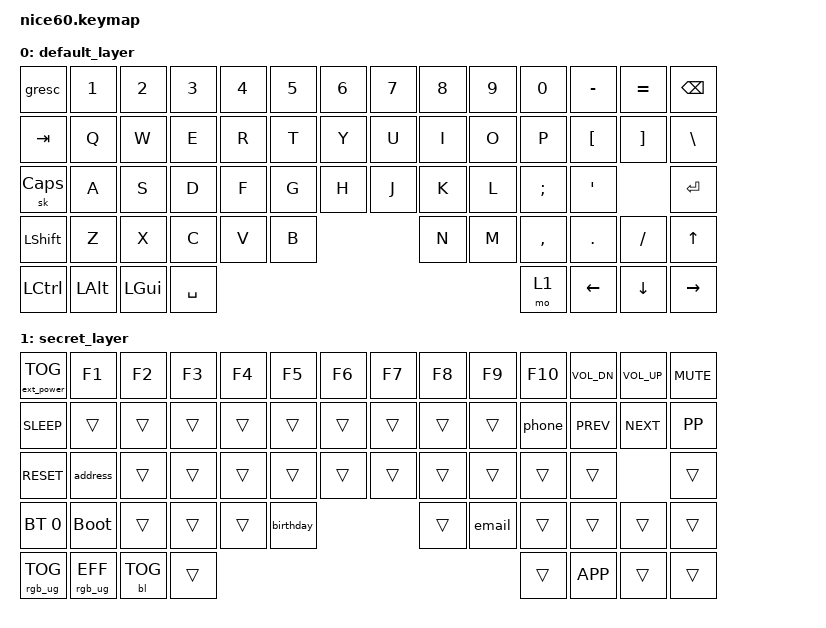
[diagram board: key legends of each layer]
/*
 * Copyright (c) 2021 Nick Winans
 *
 * SPDX-License-Identifier: MIT
 */

#include <behaviors.dtsi>
#include <dt-bindings/zmk/keys.h>
#include <dt-bindings/zmk/ext_power.h>
#include <dt-bindings/zmk/bt.h>
#include <dt-bindings/zmk/rgb.h>
#include <dt-bindings/zmk/backlight.h>

#define default 0
#define secret 1

/ {
    macros {
        email: email {
            compatible = "zmk,behavior-macro";
            label = "email";
            #binding-cells = <0>;
            bindings = <&kp C &kp L &kp A &kp U &kp D &kp I &kp A &kp C &kp H &kp O &kp X &kp O &kp AT &kp G &kp M &kp A &kp I &kp L &kp DOT &kp C &kp O &kp M>;
        };
        address: address {
            compatible = "zmk,behavior-macro";
            label = "address";
            #binding-cells = <0>;
            bindings = <&kp N1 &kp N4 &kp N4 &kp N4 &kp SPACE &kp LS(N) &kp LS(W) &kp SPACE &kp N1 &kp N4 &kp T &kp H &kp SPACE &kp LS(A) &kp V &kp E &kp SPACE &kp TAB &kp LS(A) &kp P &kp T &kp SPACE &kp N2 &kp N1 &kp N0 &kp N2>;
        };
        phone: phone {
            compatible = "zmk,behavior-macro";
            label = "phone";
            #binding-cells = <0>;
            bindings = <&kp N2 &kp N0 &kp N1 &kp N6 &kp N7 &kp N5 &kp N3 &kp N1 &kp N4 &kp N2>;
        };
        birthday: birthday {
            compatible = "zmk,behavior-macro";
            label = "birthday";
            #binding-cells = <0>;
            bindings = <&kp N0 &kp N7 &kp N0 &kp N2 &kp N1 &kp N9 &kp N8 &kp N7>;
        };
    };

    keymap {
        compatible = "zmk,keymap";

        default_layer {
            // ------------------------------------------------------------------------------------------
            // | ESC |  1  |  2  |  3  |  4  |  5  |  6  |  7  |  8  |  9  |  0  |  -  |  =  |   BKSP   |
            // | TAB  |  Q  |  W  |  E  |  R  |  T  |  Y  |  U  |  I  |  O  |  P  |  [  |  ]  |   "|"   |
            // | CAPSLOCK  |  A  |  S  |  D  |  F  |  G  |  H  |  J  |  K  |  L  |  ;  |  '  |     ENTER    |
            // |  SHIFT  |  Z  |  X |  C  |  V  |  B  |  N  |  M  |  ,  |  .  |  /  |      UP       |
            // |  LCTL  |  ALT  |  LMETA  |            SPACE              |  MO 1  |  LEFT  |  DOWN |  RIGHT  |
            // ------------------------------------------------------------------------------------------

            bindings = <
           &gresc    &kp N1  &kp N2    &kp N3  &kp N4  &kp N5     &kp N6  &kp N7  &kp N8     &kp N9    &kp N0  &kp MINUS  &kp EQUAL           &kp BSPC
          &kp TAB     &kp Q   &kp W     &kp E   &kp R   &kp T      &kp Y   &kp U   &kp I      &kp O     &kp P   &kp LBKT   &kp RBKT           &kp BSLH
         &sk CLCK     &kp A   &kp S     &kp D   &kp F   &kp G      &kp H   &kp J   &kp K      &kp L  &kp SEMI    &kp SQT                       &kp RET
        &kp LSHFT             &kp Z     &kp X   &kp C   &kp V      &kp B   &kp N   &kp M  &kp COMMA   &kp DOT   &kp FSLH                        &kp UP
 &kp LEFT_CONTROL  &kp LALT          &kp LGUI                  &kp SPACE                                &mo 1   &kp LEFT   &kp DOWN          &kp RIGHT
            >;
        };

        secret_layer {
            // ------------------------------------------------------------------------------------------------
            // | PWR   | F1 | F2 | F3 | F4 | F5 | F6 | F7 | F8 | F9 | F10 | VOL DN | VOL UP | MUTE |
            // | SLEEP | QUIT |  |    |   |   |    |    |  WEB BROWSER  |    |     | PREVIOUS |NEXT | PLAY/PAUSE| 
            // | RESET |   |    |   |  FIND  |      |      |       |    TEXT EDITOR   |     |     |      | EXECUTE |
            // | RESET KEYBOARD | BT CLEAR  | 	 |	 |   |  |   | EMAIL  |  |     |     | BOOTLOADER |
            // | RGB_TOG| RGB EFF | BL TOG |  SHOW WINDOWS |  | MENU |   | SNAPSHOT  |
            // ------------------------------------------------------------------------------------------------

            bindings = <
 &ext_power EP_TOG           &kp F1       &kp F2      &kp F3  &kp F4  &kp F5     &kp F6  &kp F7  &kp F8  &kp F9  &kp F10  &kp K_VOL_DN  &kp K_VOL_UP          &kp K_MUTE
       &kp C_SLEEP           &trans       &trans      &trans  &trans  &trans     &trans  &trans  &trans  &trans   &phone    &kp K_PREV    &kp K_NEXT            &kp K_PP
       &kp C_RESET         &address       &trans      &trans  &trans  &trans     &trans  &trans  &trans  &trans   &trans        &trans                            &trans
      &bt BT_SEL 0                   &bootloader      &trans  &trans  &trans  &birthday  &trans  &email  &trans   &trans        &trans                            &trans
   &rgb_ug RGB_TOG  &rgb_ug RGB_EFF               &bl BL_TOG                     &trans                           &trans     &kp K_APP        &trans              &trans
            >;
        };
    };
};
